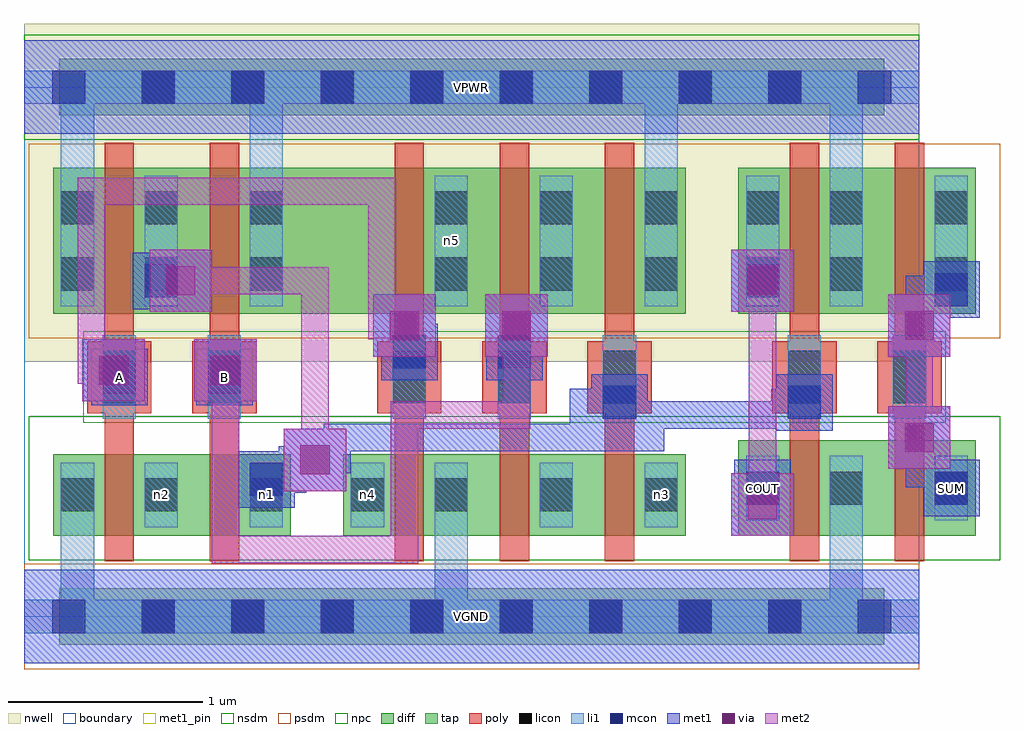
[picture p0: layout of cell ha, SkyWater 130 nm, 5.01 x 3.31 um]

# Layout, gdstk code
import gdstk
lib = gdstk.Library(unit=1e-6, precision=1e-09)
def R(c, l, rs):  # rectangles x0, y0, x1, y1
    for r in rs: c.add(gdstk.rectangle(r[:2], r[2:], *l))
def A(c, l, x, y, w, h, nx, ny, dx, dy):  # array of equal rectangles
    R(c, l, [(x+i*dx, y+j*dy, x+i*dx+w, y+j*dy+h) for i in range(nx) for j in range(ny)])
nwell = (64, 20)
diff = (65, 20)
tap = (65, 44)
poly = (66, 20)
licon = (66, 44)
li1 = (67, 20)
mcon = (67, 44)
met1_pin = (68, 16)
met1 = (68, 20)
via = (68, 44)
met2 = (69, 20)
nsdm = (93, 44)
psdm = (94, 20)
npc = (95, 20)
boundary = (235, 4)

c_ha = lib.new_cell('ha')
R(c_ha, nwell, [(0,1.31,4.6,3.045)])
R(c_ha, diff, [(0.15,0.415,1.37,0.835), (1.64,0.415,3.4,0.835), (3.67,0.415,4.89,0.905), (0.15,1.555,3.4,2.305), (3.67,1.555,4.89,2.305)])
R(c_ha, tap, [(0.18,-0.145,4.42,0.145), (0.18,2.575,4.42,2.865)])
A(c_ha, poly, 1.905, 0.285, 0.15, 2.15, 3, 1, 0.54, 0)
A(c_ha, poly, 1.815, 1.045, 0.33, 0.37, 3, 1, 0.54, 0)
R(c_ha, poly, [(0.415,0.285,0.565,2.435), (0.955,0.285,1.105,2.435), (3.935,0.285,4.085,2.435), (4.475,0.285,4.625,2.435), (0.325,1.045,0.655,1.415), (0.865,1.045,1.195,1.415), (3.845,1.045,4.175,1.415), (4.385,1.045,4.715,1.415)])
A(c_ha, licon, 0.605, -0.085, 0.17, 0.17, 8, 2, 0.46, 2.72)
A(c_ha, licon, 2.11, 0.54, 0.17, 0.17, 3, 2, 0.54, 1.135)
A(c_ha, licon, 1.895, 1.095, 0.17, 0.27, 3, 1, 0.54, 0)
A(c_ha, licon, 2.11, 2.015, 0.17, 0.17, 3, 1, 0.54, 0)
R(c_ha, licon, [(0.19,0.54,0.36,0.71), (0.62,0.54,0.79,0.71), (1.16,0.54,1.33,0.71), (1.68,0.54,1.85,0.71), (3.71,0.575,3.88,0.745), (4.14,0.575,4.31,0.745), (4.68,0.575,4.85,0.745), (0.405,1.095,0.575,1.365), (0.945,1.095,1.115,1.365), (3.925,1.095,4.095,1.365), (4.465,1.095,4.635,1.365), (0.19,1.675,0.36,1.845), (0.62,1.675,0.79,1.845), (1.16,1.675,1.33,1.845), (3.71,1.675,3.88,1.845), (4.14,1.675,4.31,1.845), (4.68,1.675,4.85,1.845), (0.19,2.015,0.36,2.185), (0.62,2.015,0.79,2.185), (1.16,2.015,1.33,2.185), (3.71,2.015,3.88,2.185), (4.14,2.015,4.31,2.185), (4.68,2.015,4.85,2.185)])
A(c_ha, li1, 2.11, 0.46, 0.17, 0.33, 3, 1, 0.54, 0)
A(c_ha, li1, 1.895, 1.015, 0.17, 0.43, 3, 1, 0.54, 0)
A(c_ha, li1, 2.11, 1.595, 0.17, 0.67, 3, 1, 0.54, 0)
R(c_ha, li1, [(0,-0.085,4.6,0.085), (0.19,-0.085,0.36,0.79), (2.11,-0.085,2.28,0.79), (4.14,-0.085,4.31,0.825), (0.19,0.46,0.36,0.79), (0.62,0.46,0.79,0.79), (1.16,0.46,1.33,0.79), (1.68,0.46,1.85,0.79), (3.71,0.495,3.88,0.825), (4.14,0.495,4.31,0.825), (4.68,0.495,4.85,0.825), (0.405,1.015,0.575,1.445), (0.945,1.015,1.115,1.445), (3.925,1.015,4.095,1.445), (4.465,1.015,4.635,1.445), (0.19,1.595,0.36,2.265), (0.19,1.595,0.36,2.805), (0.62,1.595,0.79,2.265), (1.16,1.595,1.33,2.265), (1.16,1.595,1.33,2.805), (3.19,1.595,3.36,2.805), (3.71,1.595,3.88,2.265), (4.14,1.595,4.31,2.265), (4.14,1.595,4.31,2.805), (4.68,1.595,4.85,2.265), (0,2.635,4.6,2.805)])
A(c_ha, mcon, 0.145, -0.085, 0.17, 0.17, 10, 2, 0.46, 2.72)
R(c_ha, mcon, [(3.71,0.575,3.88,0.745), (4.68,0.575,4.85,0.745), (1.16,0.62,1.33,0.79), (2.975,1.015,3.145,1.185), (3.925,1.015,4.095,1.185), (0.405,1.145,0.575,1.315), (0.945,1.145,1.115,1.315), (1.895,1.275,2.065,1.445), (2.435,1.275,2.605,1.445), (4.68,1.595,4.85,1.765), (0.62,1.64,0.79,1.81), (3.71,1.64,3.88,1.81)])
R(c_ha, met1_pin, [(0,-0.24,4.6,0.24), (3.65,0.515,3.94,0.805), (4.62,0.515,4.91,0.805), (0.345,1.085,0.635,1.375), (0.885,1.085,1.175,1.375), (0,2.48,4.6,2.96)])
R(c_ha, met1, [(0,-0.24,4.6,0.24), (3.635,0.415,3.955,0.735), (3.725,0.505,3.865,0.76), (3.65,0.515,3.94,0.805), (4.62,0.515,4.91,0.805), (1.1,0.56,1.39,0.85), (3.725,0.62,3.865,0.76), (1.175,0.635,1.45,0.775), (1.31,0.635,1.45,0.875), (1.335,0.645,1.655,0.965), (4.53,0.665,4.76,0.805), (4.53,0.665,4.67,0.99), (4.62,0.665,4.76,0.805), (1.31,0.735,1.68,0.875), (1.54,0.735,1.68,0.99), (4.44,0.76,4.76,1.08), (1.54,0.85,2.945,0.99), (2.805,0.85,2.945,1.17), (2.805,0.85,3.29,0.99), (3.15,0.85,3.29,1.105), (2.915,0.955,3.205,1.245), (3.865,0.955,4.155,1.245), (3.15,0.965,3.98,1.105), (3.84,0.965,3.98,1.17), (2.805,0.99,3.13,1.03), (2.805,1.03,3.13,1.17), (3.84,1.03,4.08,1.17), (0.345,1.085,0.635,1.375), (0.885,1.085,1.175,1.375), (0.3,1.105,0.62,1.425), (0.875,1.105,1.195,1.425), (0.39,1.195,0.53,1.335), (0.965,1.195,1.105,1.335), (1.835,1.215,2.125,1.505), (2.375,1.215,2.665,1.505), (1.885,1.29,2.05,1.43), (1.885,1.29,2.025,1.565), (2.45,1.29,2.6,1.43), (2.46,1.29,2.6,1.565), (1.795,1.335,2.115,1.655), (2.37,1.335,2.69,1.655), (4.44,1.335,4.76,1.655), (4.53,1.425,4.67,1.75), (4.62,1.535,4.91,1.825), (0.645,1.565,0.965,1.885), (3.635,1.565,3.955,1.885), (0.56,1.58,0.85,1.87), (3.65,1.58,3.94,1.87), (4.53,1.61,4.835,1.75), (0.635,1.655,0.875,1.795), (0,2.48,4.6,2.96)])
R(c_ha, via, [(3.72,0.5,3.87,0.65), (1.42,0.73,1.57,0.88), (4.525,0.845,4.675,0.995), (0.385,1.19,0.535,1.34), (0.96,1.19,1.11,1.34), (1.88,1.42,2.03,1.57), (2.455,1.42,2.605,1.57), (4.525,1.42,4.675,1.57), (0.73,1.65,0.88,1.8), (3.72,1.65,3.87,1.8)])
R(c_ha, met2, [(0.965,0.275,1.105,1.335), (0.965,0.275,2.025,0.415), (1.885,0.275,2.025,1.105), (3.635,0.415,3.955,0.735), (3.725,0.505,3.865,1.795), (1.335,0.645,1.655,0.965), (1.425,0.735,1.565,1.795), (4.44,0.76,4.76,1.08), (4.53,0.85,4.67,1.565), (1.885,0.965,2.6,1.105), (2.46,0.965,2.6,1.565), (0.3,1.105,0.62,1.425), (0.875,1.105,1.195,1.425), (0.275,1.195,0.415,2.255), (0.275,1.195,0.53,1.335), (1.795,1.335,2.115,1.655), (2.37,1.335,2.69,1.655), (4.44,1.335,4.76,1.655), (1.77,1.425,2.025,1.565), (1.77,1.425,1.91,2.255), (0.645,1.565,0.965,1.885), (3.635,1.565,3.955,1.885), (0.735,1.655,1.565,1.795), (0.275,2.115,1.91,2.255)])
R(c_ha, nsdm, [(0.025,0.29,5.015,1.03), (0,2.45,4.6,2.99)])
R(c_ha, psdm, [(0,-0.27,4.6,0.27), (0.025,1.43,5.015,2.43)])
R(c_ha, npc, [(0.305,0.995,4.735,1.465)])
R(c_ha, boundary, [(0,0,4.6,2.72)])
c_ha.add(gdstk.Label('n2', (0.705,0.625), layer=67, texttype=5))
c_ha.add(gdstk.Label('n1', (1.245,0.625), layer=67, texttype=5))
c_ha.add(gdstk.Label('n4', (1.765,0.625), layer=67, texttype=5))
c_ha.add(gdstk.Label('n3', (3.275,0.625), layer=67, texttype=5))
c_ha.add(gdstk.Label('n5', (2.195,1.93), layer=67, texttype=5))
c_ha.add(gdstk.Label('A', (0.49,1.23), layer=68, texttype=5))
c_ha.add(gdstk.Label('B', (1.03,1.23), layer=68, texttype=5))
c_ha.add(gdstk.Label('COUT', (3.795,0.66), layer=68, texttype=5))
c_ha.add(gdstk.Label('SUM', (4.765,0.66), layer=68, texttype=5))
c_ha.add(gdstk.Label('VPWR', (2.3,2.72), layer=68, texttype=5))
c_ha.add(gdstk.Label('VGND', (2.3,0), layer=68, texttype=5))
c_ha.add(gdstk.Label('A', (0.49,1.23), layer=68, texttype=16))
c_ha.add(gdstk.Label('B', (1.03,1.23), layer=68, texttype=16))
c_ha.add(gdstk.Label('COUT', (3.795,0.66), layer=68, texttype=16))
c_ha.add(gdstk.Label('SUM', (4.765,0.66), layer=68, texttype=16))
c_ha.add(gdstk.Label('VPWR', (2.3,2.72), layer=68, texttype=16))
c_ha.add(gdstk.Label('VGND', (2.3,0), layer=68, texttype=16))

lib.write_gds('ha.gds')
